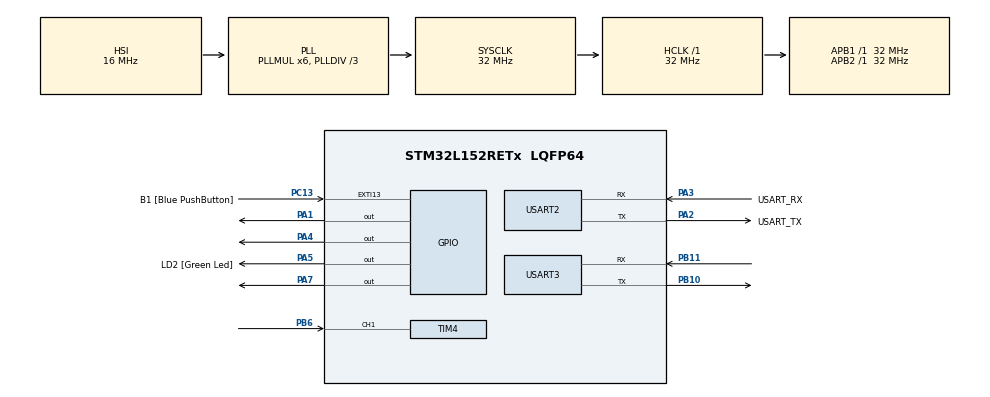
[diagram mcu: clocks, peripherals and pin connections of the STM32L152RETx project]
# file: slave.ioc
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Mcu.Family=STM32L1
Mcu.Name=STM32L152RETx
Mcu.Package=LQFP64
NVIC.PriorityGroup=NVIC_PRIORITYGROUP_0
NVIC.TIM4_IRQn=true\:0\:0\:false\:false\:true\:true\:true
PA1.Signal=GPIO_Output
PA13.GPIO_Label=TMS
PA13.Mode=Serial_Wire
PA13.Signal=SYS_JTMS-SWDIO
PA14.GPIO_Label=TCK
PA14.Mode=Serial_Wire
PA14.Signal=SYS_JTCK-SWCLK
PA2.GPIO_Label=USART_TX
PA2.Mode=Asynchronous
PA2.Signal=USART2_TX
PA3.GPIO_Label=USART_RX
PA3.Mode=Asynchronous
PA3.Signal=USART2_RX
PA4.Signal=GPIO_Output
PA5.GPIO_Label=LD2 [Green Led]
PA5.Signal=GPIO_Output
PA7.Signal=GPIO_Output
PB10.Mode=Asynchronous
PB10.Signal=USART3_TX
PB11.Mode=Asynchronous
PB11.Signal=USART3_RX
PB3.GPIO_Label=SWO
PB3.Signal=SYS_JTDO-TRACESWO
PB6.Signal=S_TIM4_CH1
PC13-WKUP2.GPIO_Label=B1 [Blue PushButton]
PC13-WKUP2.Signal=GPXTI13
PC14-OSC32_IN.Mode=LSE-External-Oscillator
PC14-OSC32_IN.Signal=RCC_OSC32_IN
PC15-OSC32_OUT.Mode=LSE-External-Oscillator
PC15-OSC32_OUT.Signal=RCC_OSC32_OUT
PH0-OSC_IN.Mode=HSE-External-Clock-Source
PH0-OSC_IN.Signal=RCC_OSC_IN
PH1-OSC_OUT.Signal=RCC_OSC_OUT
ProjectManager.HeapSize=0x200
ProjectManager.StackSize=0x400
ProjectManager.TargetToolchain=Other Toolchains (GPDSC)
RCC.48MHZClocksFreq_Value=48000000
RCC.AHBFreq_Value=32000000
RCC.APB1Freq_Value=32000000
RCC.APB1TimFreq_Value=32000000
RCC.APB2Freq_Value=32000000
RCC.APB2TimFreq_Value=32000000
RCC.HCLKFreq_Value=32000000
RCC.HSE_VALUE=8000000
RCC.HSI_VALUE=16000000
RCC.MSI_VALUE=2097000
RCC.PLLDIV=RCC_PLL_DIV3
RCC.PLLMUL=RCC_PLL_MUL6
RCC.RTCClockSelectionVirtual=RCC_RTCCLKSOURCE_LSE
RCC.SYSCLKFreq_VALUE=32000000
RCC.SYSCLKSource=RCC_SYSCLKSOURCE_PLLCLK
RCC.USBOutput=48000000
RCC.VCOOutputFreq_Value=96000000
SH.S_TIM4_CH1.0=TIM4_CH1,Input_Capture1_from_TI1
TIM4.Channel-Input_Capture1_from_TI1=TIM_CHANNEL_1
TIM4.Period=65535-1
TIM4.Prescaler=32-1
TIM6.Period=65535-1
TIM6.Prescaler=32-1
USART2.VirtualMode=VM_ASYNC
USART3.VirtualMode=VM_ASYNC
VP_TIM6_VS_ClockSourceINT.Mode=Enable_Timer
board=NUCLEO-L152RE

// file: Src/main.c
/* USER CODE BEGIN Header */
/**
  ******************************************************************************
  * @file           : main.c
  * @brief          : Main program body
  ******************************************************************************
  * @attention
  ******************************************************************************
  */
/* USER CODE END Header */
#include "main.h"
#include <string.h>

/* Task Stack Size */
#define APP_TASK_START_STK_SIZE 128u
#define TEMPERATURE_TASK_STK_SIZE 128u
#define DIS_TASK_STK_SIZE 128u
#define SEND_TASK_STK_SIZE 128u

/* Task Priority */
#define APP_TASK_START_PRIO 1u
#define DIS_TASK_PRIO 2u
#define TEMPERATURE_TASK_PRIO 3u
#define SEND_TASK_PRIO 4u

void SystemClock_Config(void);

/* Task Control Block */
static OS_TCB AppTaskStartTCB;
static OS_TCB DisTaskTCB;
static OS_TCB TemperatureTaskTCB;
static OS_TCB SendTaskTCB;

/* Task Stack */
static CPU_STK AppTaskStartStk[APP_TASK_START_STK_SIZE];
static CPU_STK TemperatureTaskStk[TEMPERATURE_TASK_STK_SIZE];
static CPU_STK DisTaskStk[DIS_TASK_STK_SIZE];
static CPU_STK SendTaskStk[DIS_TASK_STK_SIZE];

/* Semaphore */
OS_SEM sem;

/* Function Prototype */
static void AppTaskStart(void *p_arg);
static void TemperatureTask(void *p_arg);
static void DisTask(void *p_arg);
static void SendTask(void *p_arg);
/** GLOBAL VARIABLE **/
uint16_t counter_D = 0;
uint16_t counter_T = 0;
uint16_t count = 0; //count people

uint16_t result = 0;
uint8_t Temperature = 0;

int main(void)
{
  /* To store error code */
  OS_ERR os_err;

  /* Initialize uC/OS-III */
  OSInit(&os_err);

  if (os_err != OS_ERR_NONE)
  {
    while (DEF_TRUE)
      ;
  }

  OSSemCreate(
      (OS_SEM *)&sem,
      (CPU_CHAR *)"Semaphore to protect share resource",
      (OS_SEM_CTR)1,
      (OS_ERR *)&os_err);
  OSTaskCreate(
      /* pointer to task control block */
      (OS_TCB *)&AppTaskStartTCB,
      /* task name can be displayed by debuggers */
      (CPU_CHAR *)"App Task Start",
      /* pointer to the task */
      (OS_TASK_PTR)AppTaskStart,
      /* pointer to an OPTIONAL data area */
      (void *)0,
      /* task priority: the lower the number, the higher the priority */
      (OS_PRIO)APP_TASK_START_PRIO,
      /* pointer to task's stack base addr */
      (CPU_STK *)&AppTaskStartStk[0],
      /* task's stack limit to monitor and ensure that the stack
       * doesn't overflow (10%) */
      (CPU_STK_SIZE)APP_TASK_START_STK_SIZE / 10,
      /* task's stack size */
      (CPU_STK_SIZE)APP_TASK_START_STK_SIZE,
      /* max number of message that the task can receive through
       * internal message queue (5) */
      (OS_MSG_QTY)5u,
      /* amount of clock ticks for the time quanta
       * when round robin is enabled */
      (OS_TICK)0u,
      /* pointer to an OPTIONAL user-supplied memory location
       * use as a TCB extension */
      (void *)0,
      /* contain task-specific option
       * OS_OPT_TASK_STK_CHK: allow stack checking
       * OS_OPT_TASK_STK_CLR: stack needs to be cleared */
      (OS_OPT)(OS_OPT_TASK_STK_CHK | OS_OPT_TASK_STK_CLR),
      /* pointer to a variable that will receive an error code */
      (OS_ERR *)&os_err);

  if (os_err != OS_ERR_NONE)
  {
    while (DEF_TRUE)
      ;
  }

  /* Start Mulitasking */
  OSStart(&os_err);
  /* USER CODE BEGIN 3 */
}

void SystemClock_Config(void)
{
  RCC_OscInitTypeDef RCC_OscInitStruct = {0};
  RCC_ClkInitTypeDef RCC_ClkInitStruct = {0};

  /** Configure the main internal regulator output voltage
  */
  __HAL_PWR_VOLTAGESCALING_CONFIG(PWR_REGULATOR_VOLTAGE_SCALE1);
  /** Initializes the RCC Oscillators according to the specified parameters
  * in the RCC_OscInitTypeDef structure.
  */
  RCC_OscInitStruct.OscillatorType = RCC_OSCILLATORTYPE_HSI;
  RCC_OscInitStruct.HSIState = RCC_HSI_ON;
  RCC_OscInitStruct.HSICalibrationValue = RCC_HSICALIBRATION_DEFAULT;
  RCC_OscInitStruct.PLL.PLLState = RCC_PLL_ON;
  RCC_OscInitStruct.PLL.PLLSource = RCC_PLLSOURCE_HSI;
  RCC_OscInitStruct.PLL.PLLMUL = RCC_PLL_MUL6;
  RCC_OscInitStruct.PLL.PLLDIV = RCC_PLL_DIV3;
  if (HAL_RCC_OscConfig(&RCC_OscInitStruct) != HAL_OK)
  {
    Error_Handler();
  }
  /** Initializes the CPU, AHB and APB buses clocks
  */
  RCC_ClkInitStruct.ClockType = RCC_CLOCKTYPE_HCLK | RCC_CLOCKTYPE_SYSCLK | RCC_CLOCKTYPE_PCLK1 | RCC_CLOCKTYPE_PCLK2;
  RCC_ClkInitStruct.SYSCLKSource = RCC_SYSCLKSOURCE_PLLCLK;
  RCC_ClkInitStruct.AHBCLKDivider = RCC_SYSCLK_DIV1;
  RCC_ClkInitStruct.APB1CLKDivider = RCC_HCLK_DIV1;
  RCC_ClkInitStruct.APB2CLKDivider = RCC_HCLK_DIV1;

  if (HAL_RCC_ClockConfig(&RCC_ClkInitStruct, FLASH_LATENCY_1) != HAL_OK)
  {
    Error_Handler();
  }
}

/* USER CODE BEGIN 4 */
static void AppTaskStart(void *p_arg)
{
  OS_ERR os_err;

  HAL_Init();
  SystemClock_Config();

  MX_GPIO_Init();
  MX_TIM4_Init();
  MX_TIM6_Init();
  MX_USART2_UART_Init();
  MX_USART3_UART_Init();

  HAL_TIM_Base_Start(&htim4);
  HAL_TIM_Base_Start(&htim6);

  OSTaskCreate(
      (OS_TCB *)&DisTaskTCB,
      (CPU_CHAR *)"Distance measurement Task",
      (OS_TASK_PTR)DisTask,
      (void *)0,
      (OS_PRIO)DIS_TASK_PRIO,
      (CPU_STK *)&DisTaskStk[0],
      (CPU_STK_SIZE)DIS_TASK_STK_SIZE / 10,
      (CPU_STK_SIZE)DIS_TASK_STK_SIZE,
      (OS_MSG_QTY)5u,
      (OS_TICK)0u,
      (void *)0,
      (OS_OPT)(OS_OPT_TASK_STK_CHK | OS_OPT_TASK_STK_CLR),
      (OS_ERR *)&os_err);
  OSTaskCreate(
      (OS_TCB *)&TemperatureTaskTCB,
      (CPU_CHAR *)"Temperature measurement Task",
      (OS_TASK_PTR)TemperatureTask,
      (void *)0,
      (OS_PRIO)TEMPERATURE_TASK_PRIO,
      (CPU_STK *)&TemperatureTaskStk[0],
      (CPU_STK_SIZE)TEMPERATURE_TASK_STK_SIZE / 10,
      (CPU_STK_SIZE)TEMPERATURE_TASK_STK_SIZE,
      (OS_MSG_QTY)5u,
      (OS_TICK)0u,
      (void *)0,
      (OS_OPT)(OS_OPT_TASK_STK_CHK | OS_OPT_TASK_STK_CLR),
      (OS_ERR *)&os_err);
  OSTaskCreate(
      (OS_TCB *)&SendTaskTCB,
      (CPU_CHAR *)"Sending data to usart2 and regular LED Task",
      (OS_TASK_PTR)SendTask,
      (void *)0,
      (OS_PRIO)SEND_TASK_PRIO,
      (CPU_STK *)&SendTaskStk[0],
      (CPU_STK_SIZE)SEND_TASK_STK_SIZE / 10,
      (CPU_STK_SIZE)SEND_TASK_STK_SIZE,
      (OS_MSG_QTY)5u,
      (OS_TICK)0u,
      (void *)0,
      (OS_OPT)(OS_OPT_TASK_STK_CHK | OS_OPT_TASK_STK_CLR),
      (OS_ERR *)&os_err);
}
static void DisTask(void *p_arg)
{

  OS_ERR os_err;
  HAL_TIM_IC_Start_IT(&htim4, TIM_CHANNEL_1);
  while (DEF_TRUE)
  {
    OSSemPend(
        (OS_SEM *)&sem,
        (OS_TICK)0,
        (OS_OPT)OS_OPT_PEND_BLOCKING,
        (CPU_TS *)NULL,
        (OS_ERR *)&os_err);

    HCSR04_Read();
    if (Distance <= 10 && Distance != 0) // !=0 to avoid initial value
    {
      HAL_GPIO_WritePin(GPIOA, LD2_Pin, 1);
      counter_D = 1;
    }

    if ((counter_T & counter_D) == 1 && HAL_GPIO_ReadPin(GPIOA, GPIO_PIN_5) == 1) //ppl goout - check output status of HCSR04
    {
      if (count == 0) // prevent negative value
        count = 0;
      else
        count--;
      HAL_UART_Transmit(&huart2, "Count PP out \n\r", 15, 100);
      counter_T = 0;
      counter_D = 0;
    }
    else
    {
      counter_T = 0; //reset Temperature counter
    }
    OSSemPost(
        (OS_SEM *)&sem,
        (OS_OPT)OS_OPT_POST_1,
        (OS_ERR *)&os_err);
    OSTimeDlyHMSM(0, 0, 0, 700, OS_OPT_TIME_HMSM_STRICT, &os_err);
  }
}
static void TemperatureTask(void *p_arg)
{

  OS_ERR os_err;
  while (DEF_TRUE)
  {
    OSSemPend(
        (OS_SEM *)&sem,
        (OS_TICK)0,
        (OS_OPT)OS_OPT_PEND_BLOCKING,
        (CPU_TS *)NULL,
        (OS_ERR *)&os_err);

    result = DS18B20_Operation();
    Temperature = floor(result / 16.00 * 1.00);
    if (Temperature >= 28 && Temperature <= 32)
    {
      HAL_GPIO_WritePin(GPIOA, LD2_Pin, 0);
      counter_T = 1;
    }
    if ((counter_T & counter_D) == 1 && HAL_GPIO_ReadPin(GPIOA, GPIO_PIN_5) == 0) // comein - LD output of DS18b20
    {
      count++; // Dis<=10, 27 <= T <=32
      counter_T = 0;
      counter_D = 0;
      HAL_UART_Transmit(&huart2, "Count PP in \n\r", 15, 100);
    }
    //     else
    // {
    //   counter_D = 0; //reset Temperature counter
    // }
    OSSemPost(
        (OS_SEM *)&sem,
        (OS_OPT)OS_OPT_POST_1,
        (OS_ERR *)&os_err);
    OSTimeDlyHMSM(0, 0, 0, 500, OS_OPT_TIME_HMSM_STRICT, &os_err);
  }
}

static void SendTask(void *p_arg)
{

  OS_ERR os_err;
  uint8_t msg[50];
    uint8_t buf[30];
    uint8_t test=5;

  while (DEF_TRUE)
  {
    OSSemPend(
        (OS_SEM *)&sem,
        (OS_TICK)0,
        (OS_OPT)OS_OPT_PEND_BLOCKING,
        (CPU_TS *)NULL,
        (OS_ERR *)&os_err);

    /* LED SETUP */
    if (count != 0)
    {
      Set_Pin_Input(GPIOA, GPIO_PIN_4);
    }
    else
    {
      Set_Pin_Output(GPIOA, GPIO_PIN_4);
      HAL_GPIO_WritePin(GPIOA, GPIO_PIN_4, 0);
    }
  /*SEND DATA*/

   sprintf(buf,"%d",count);
  HAL_UART_Transmit(&huart3, buf, sizeof(buf), 100);

   sprintf(msg, "DIS: %d | TEM: %d | C: %d \n\r", Distance, Temperature, count);
    HAL_UART_Transmit(&huart2, msg, strlen(msg), 100);

    OSSemPost(
        (OS_SEM *)&sem,
        (OS_OPT)OS_OPT_POST_1,
        (OS_ERR *)&os_err);
    OSTimeDlyHMSM(0, 0, 1, 500, OS_OPT_TIME_HMSM_STRICT, &os_err);
  }
}
/* USER CODE END 4 */

void Error_Handler(void)
{
  __disable_irq();
  while (1)
  {
  }
}

/************************ (C) COPYRIGHT STMicroelectronics *****END OF FILE****/
